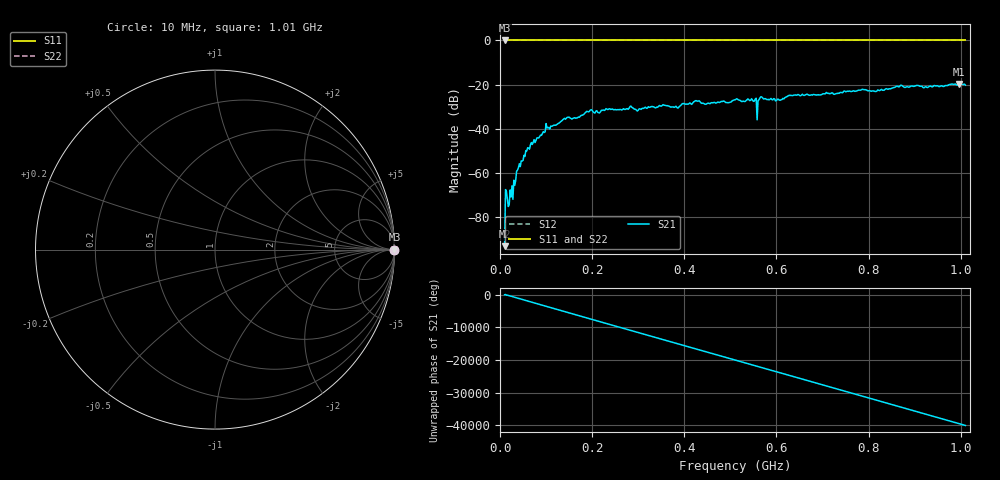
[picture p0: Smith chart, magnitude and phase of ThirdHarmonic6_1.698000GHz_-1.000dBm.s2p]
! 8/16/2025 8:24:28 PM
! C:\ANRITSUVNA\TEMP\TEMP.S2P
! CHANNEL.1
! TR.MEASUREMENT
! RAW.DATA
! RF.CORRECTION.OFF
! AVERAGING.OFF
! IF.BANDWIDTH: 5KHZ
! SWEEPTYPE:  FREQ.SWEEP(Linear)
! Reference Plane Port Info
! PORT:  PORT1  PORT2
! DISTANCE:  0  m  0  m
! TIME:  0  s  0  s
! PHASE.OFFSET:  0  deg.  0  deg.
! LOSS:  0  dB  0  dB
! REF.LOSS:  0  dB  0  dB
! REF.FREQ:  0  Hz  0  Hz
! Power Info
! POWER:  -20  dBm  -20  dBm
! EFF.POWER:  -20  dBm  -20  dBm
! SOURCE.ATTEN:  0  dB  0  dB
! TEST.ATTEN:  0  dB  0  dB
# GHZ S RI R 50.0
! FREQ.GHZ  S11RE  S11IM  S21RE  S21IM  S12RE  S12IM  S22RE  S22IM
!; PortSelection: Port_12
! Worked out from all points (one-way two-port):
!   501 points, 10 MHz to 1.01 GHz, reference 50 ohm
!   highest |S21| = -19.64 dB at 996 MHz (marker M1); lowest = -93.1 dB at 10 MHz (marker M2)
!   lowest |S11| = 0.0 dB at 10 MHz (marker M3)
!   |S11| at or under -10 dB: nowhere
!   |S22| runs from 0.0 to 0.0 dB; largest |S21 - S12| = 1.1
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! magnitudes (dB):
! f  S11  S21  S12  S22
! 10 MHz  0.0  -93.1  0.0  0.0
! 16 MHz  0.0  -71.6  0.0  0.0
! 20 MHz  0.0  -74.3  0.0  0.0
! 24 MHz  0.0  -70.8  0.0  0.0
! 40 MHz  0.0  -57.6  0.0  0.0
! 70 MHz  0.0  -47.1  0.0  0.0
! 104 MHz  0.0  -39.4  0.0  0.0
! 144 MHz  0.0  -35.2  0.0  0.0
! 178 MHz  0.0  -33.8  0.0  0.0
! 196 MHz  0.0  -31.5  0.0  0.0
! 344 MHz  0.0  -29.9  0.0  0.0
! 510 MHz  0.0  -26.9  0.0  0.0
! 552 MHz  0.0  -27.4  0.0  0.0
! 554 MHz  0.0  -26.5  0.0  0.0
! 562 MHz  0.0  -26.9  0.0  0.0
! 564 MHz  0.0  -26.1  0.0  0.0
! 568 MHz  0.0  -25.6  0.0  0.0
! 602 MHz  0.0  -26.6  0.0  0.0
! 678 MHz  0.0  -24.7  0.0  0.0
! 844 MHz  0.0  -21.9  0.0  0.0
! 996 MHz  0.0  -19.6  0.0  0.0
! 1.01 GHz  0.0  -20.2  0.0  0.0
